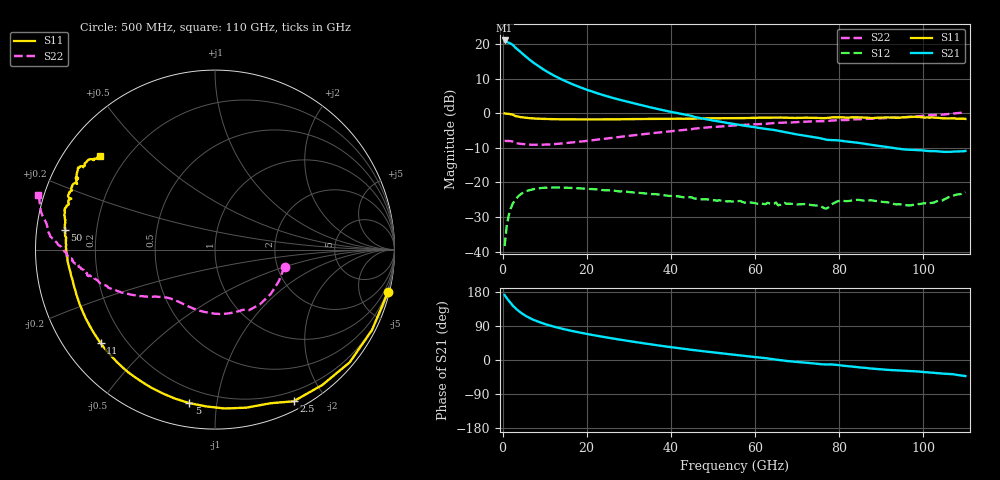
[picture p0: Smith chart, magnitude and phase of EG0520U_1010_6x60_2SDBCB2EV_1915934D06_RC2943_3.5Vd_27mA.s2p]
!File name = EG0520U_1010_6x60_2SDBCB2EV_1915934D06_RC2943_3.5Vd_27mA.s2p
!Base file name = EG0520U_1010_6x60_2SDBCB2EV_1915934D06_RC2943
!Date = 8/23/2019
!Time = 1:04 PM
!Test duration(min) = 0.15
!Test = S-Parameters
!MPTS version = 8.91.5
!State File = C:\Data\PNA\20190821205423\S-Parameters_2019-08-23.sta
!Cal File =
!ComputerName = CMPE-LAB-6
!Comments =
!Attenuation = 0
!Z0 = 50
!Input Power(dBm) = -13.00
!Device ID = EG0520U_1010_6x60_2SDBCB2EV
!Row = 29
!Column = 43
!Technology = QPHT09
!Lot/Wafer = 1915934D06
!Gate Size = 360
!Mask = EG0520
!Cal Standards = GaAs BCB
!Cal Kit = EG2306
!Job Number = 20190821205423
!Device Type = FET
!set_Vg(v) = -1.500
!set_Vd(v) = 3.500
!set_Vd(mA) = 27.000
!file_name = EG0520U_1010_6x60_2SDBCB2EV_1915934D06_RC2943_3.5Vd_27mA.s2p
!Vd(V) = 3.500
!Vd(mA) = 26.916
!Vg(V) = -0.575
!Vg(mA) = -0.004
# GHz  S  DB  R  50
!%	Freq(GHz)  s11(dB)  s11(deg)  s21(dB)  s21(deg)  s12(dB)  s12(deg)  s22(dB)  s22(deg)
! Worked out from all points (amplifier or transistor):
!   220 points, 500 MHz to 110 GHz, reference 50 ohm
!   highest |S21| = 21.0 dB at 500 MHz (marker M1)
!   |S21| within 3 dB of that: start of sweep to 3.961 GHz
!   unconditionally stable (mu >= 1): 34.32 GHz to 96.71 GHz
!   at 18.5 GHz: K = 0.53, MSG = 14.6 dB, |S12| = -21.7 dB
!   at 55.5 GHz: K = 1.53, MAG = 6.8 dB, |S12| = -25.4 dB
!   at 110 GHz: K = -1.31, MSG = 5.9 dB, |S12| = -22.8 dB
!   S11 on the Smith chart (normalised r, x): 500 MHz: 0.26, -8.31; 2.5 GHz: 0.09, -1.64; 5 GHz: 0.12, -0.84; 11 GHz: 0.11, -0.35; 50 GHz: 0.09, +0.06; 110 GHz: 0.11, +0.35
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0.5  -0.06 -13.7  21.02 171.5  -38.43 81.1  -7.98 -13.7
1  -0.15 -27.1  20.66 163.3  -32.62 74.1  -8.03 -26.3
1.5  -0.19 -39.9  20.35 156.3  -29.43 67.1  -8.03 -38.5
2  -0.33 -51.6  20.09 149.0  -27.38 60.5  -8.08 -50.6
2.5  -0.43 -62.6  19.68 142.7  -25.97 54.8  -8.24 -60.5
3.5  -0.94 -78.8  18.51 132.5  -24.34 46.0  -8.72 -72.3
4.5  -1.16 -93.4  17.44 123.7  -23.27 38.4  -8.88 -85.6
5  -1.24 -99.5  16.92 120.0  -22.91 35.3  -8.95 -91.0
6  -1.39 -110.2  15.90 113.4  -22.39 30.0  -9.07 -100.1
7.5  -1.53 -122.4  14.48 105.4  -21.93 23.9  -9.12 -110.3
9  -1.61 -131.4  13.21 99.0  -21.64 19.2  -9.13 -117.0
11  -1.69 -140.8  11.72 91.8  -21.50 14.2  -9.03 -124.0
14.5  -1.77 -152.1  9.51 81.6  -21.51 8.0  -8.70 -131.7
19  -1.81 -161.4  7.24 71.0  -21.74 2.7  -8.13 -137.6
26.5  -1.78 -171.0  4.31 56.3  -22.40 -2.3  -7.05 -143.8
37  -1.63 -179.6  1.19 38.4  -23.48 -5.1  -5.59 -151.2
50  -1.49 172.6  -2.10 20.3  -25.16 -4.8  -3.97 -160.6
55.5  -1.43 169.6  -3.20 13.5  -25.36 -3.5  -3.49 -163.9
73.5  -1.34 161.0  -6.83 -8.7  -26.57 -4.2  -2.32 -172.8
92  -1.25 152.3  -9.89 -26.3  -25.89 -16.6  -1.38 179.3
101  -1.21 147.8  -10.92 -32.5  -26.25 -11.6  -0.63 174.3
110  -1.65 140.8  -10.92 -42.3  -22.77 -19.9  0.26 162.9
